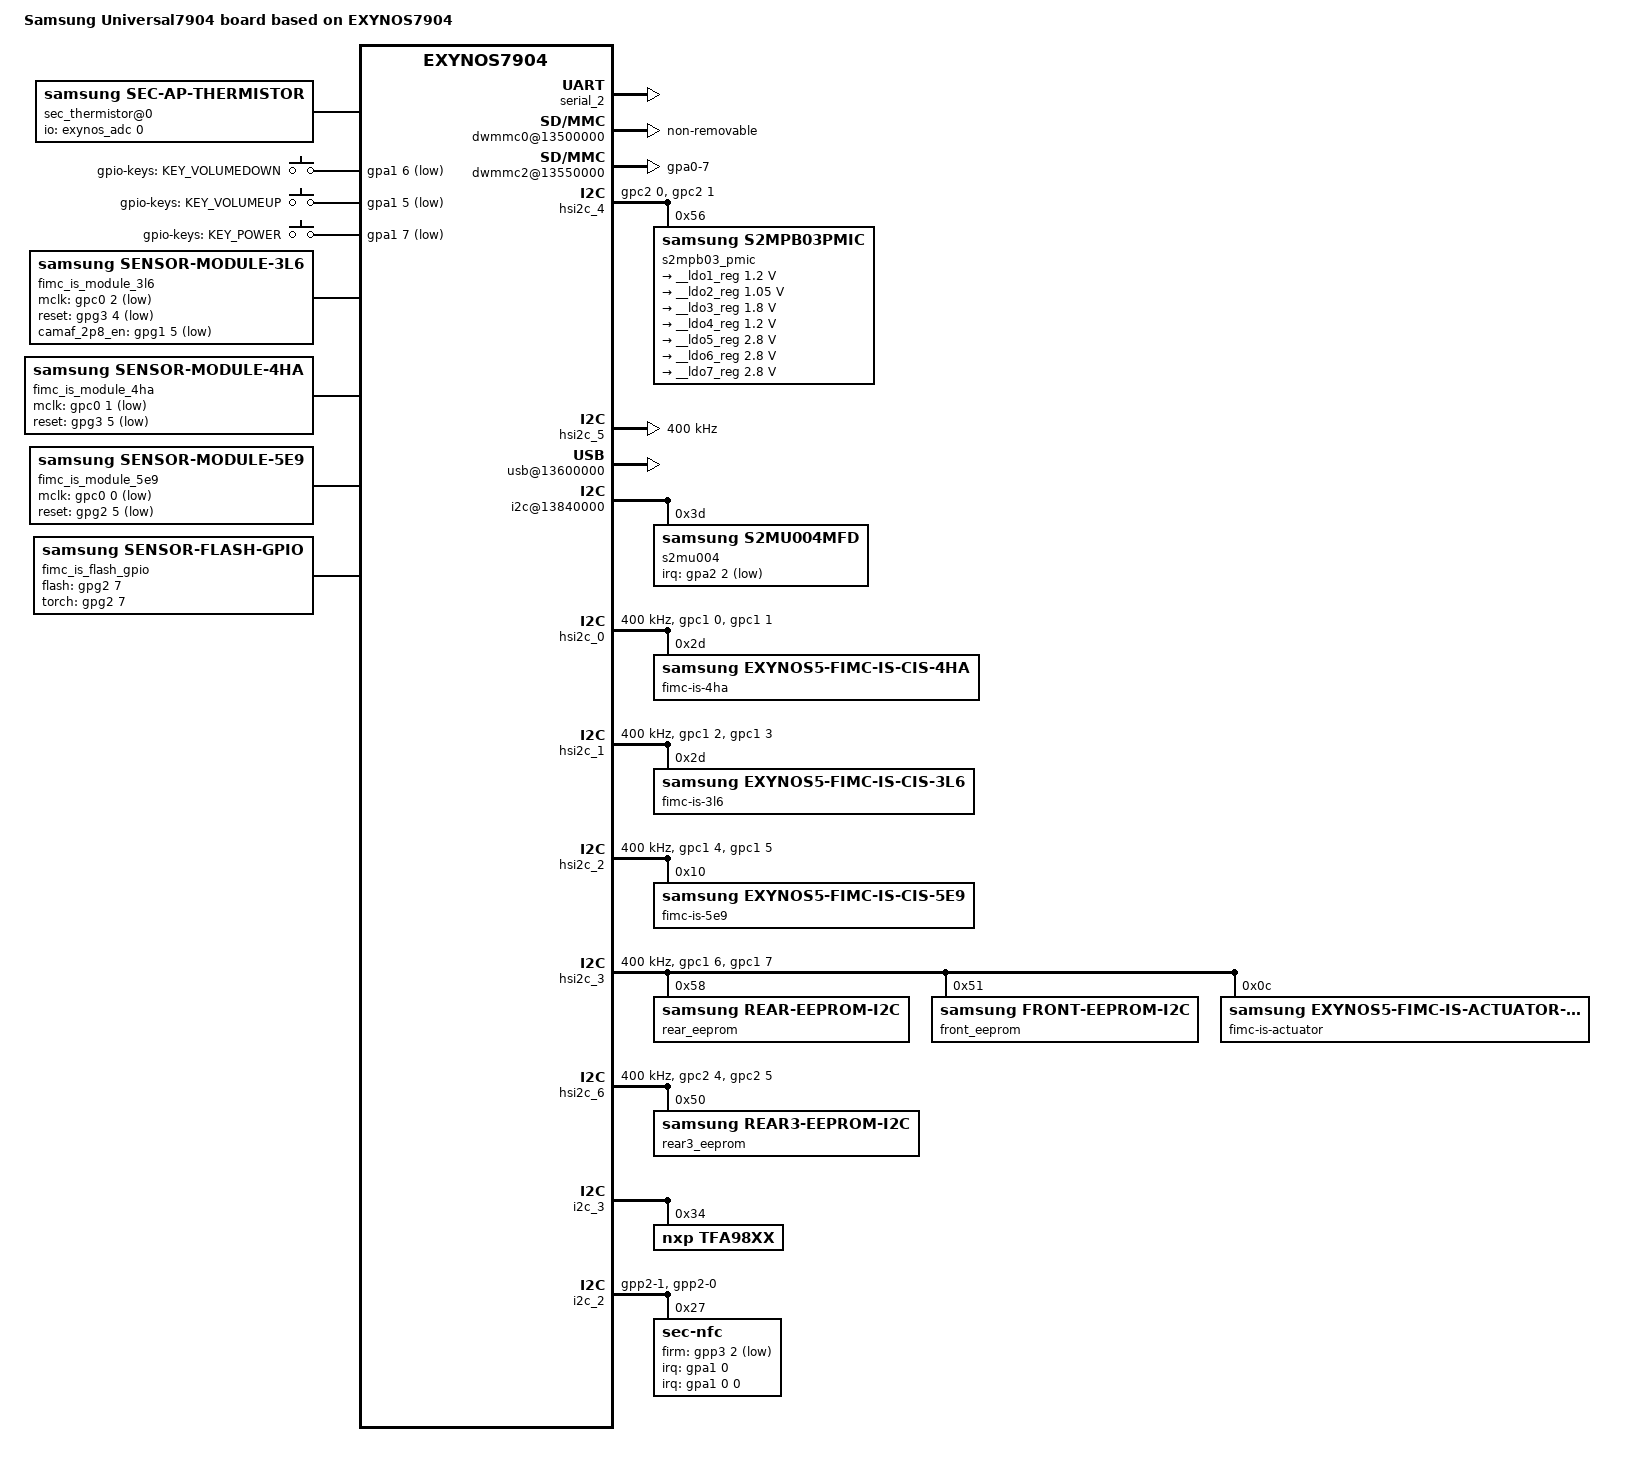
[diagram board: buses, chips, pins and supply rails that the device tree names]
/*
 * SAMSUNG UNIVERSAL7885 board device tree source
 *
 * Copyright (c) 2013 Samsung Electronics Co., Ltd.
 *		http://www.samsung.com
 *
 * This program is free software; you can redistribute it and/or modify
 * it under the terms of the GNU General Public License version 2 as
 * published by the Free Software Foundation.
 */

#include "exynos7884-rmem.dtsi"
#include "exynos7885.dtsi"
#include "display-lcd_m20_common.dtsi"
#include "modem-s327ap-sipc-pdata_m20.dtsi"
#include "battery_data_m20lte_common.dtsi"
#include "exynos7904-m20lte_motor.dtsi"
#include "exynos7904-mali.dtsi"

/ {
	model = "Samsung Universal7904 board based on EXYNOS7904";
	compatible = "samsung,exynos7904", "samsung,Universal7904";

	ect {
		parameter_address = <0x90000000>;
		parameter_size = <0x19000>;
	};

	memory@80000000 {
		device_type = "memory";
		reg = <0x0 0x80000000 0x3DA00000>;
	};

	memory@C0000000 {
		device_type = "memory";
		reg = <0x0 0xC0000000 0x40000000>;
	};

	memory@880000000 {
		device_type = "memory";
		reg = <0x00000008 0x80000000 0x0>;
	};

	memory@900000000 {
		device_type = "memory";
		reg = <0x00000009 0x00000000 0x0>;
	};

	chosen {
		bootargs = "console=ram root=/dev/ram0 clk_ignore_unused androidboot.hardware=samsungexynos7885 androidboot.selinux=permissive ess_setup=0x86000000 androidboot.debug_level=0x4948";
		linux,initrd-start = <0x84000000>;
		linux,initrd-end = <0x840FFFFF>;
	};

	fixed-rate-clocks {
		oscclk {
			compatible = "samsung,exynos7885-oscclk";
			clock-frequency = <26000000>;
		};
	};

	firmware {
		android {
			compatible = "android,firmware";
			fstab {
				compatible = "android,fstab";
				system {
					compatible = "android,system";
					dev = "/dev/block/platform/13500000.dwmmc0/by-name/SYSTEM";
					type = "ext4";
					mnt_flags = "ro";
					fsmgr_flags = "wait,verify";
				};
				vendor {
					compatible = "android,vendor";
					dev = "/dev/block/platform/13500000.dwmmc0/by-name/VENDOR";
					type = "ext4";
					mnt_flags = "ro";
					fsmgr_flags = "wait,verify";
				};
				odm {
					compatible = "android,odm";
					dev = "/dev/block/platform/13500000.dwmmc0/by-name/ODM";
					type = "ext4";
					mnt_flags = "ro";
					fsmgr_flags = "wait,verify";
				};
			};
		};
	};

	/* USI MODE SETTINGS
	 * usi_mode = "hsi2c0" or "hsi2c1" or "spi" or "uart"
	 * or "hsi2c0_hsi2c1" or "uart_hsi2c1"
	 */
	usi_0: usi@10032000 {
		usi_mode = "hsi2c0_hsi2c1";  /*  change from "spi" to "hsi2c"  */
		status = "okay";
	};

	usi_1: usi@10032004 {
		usi_mode = "hsi2c0";
		status = "okay";
	};

	usi_2: usi@10032008 {
		usi_mode = "hsi2c1";
		status = "okay";
	};

	serial_1: uart@13810000 {
		status = "disabled";
	};

	pinctrl@11CB0000 {
		pmic_irq: pmic-irq {
			samsung,pins = "gpa2-0";
			samsung,pin-pud = <3>;
			samsung,pin-drv = <3>;
		};
	};

	pinctrl@139B0000 {
		/* Warm reset information from AP */
		pm_wrsti: pm-wrsti {
			samsung,pins = "gpg1-1";
			samsung,pin-con-pdn = <3>;
		};
		mot_en: mot_enable {
			samsung,pins = "gpp0-3";
			samsung,pin-pud = <1>;
			samsung,pin-drv = <0>;
		};
	};

	pinctrl@139B0000 {
		/* SPI_FP */
		spi1_bus_inactive: spi1-bus-inactive {
			samsung,pins = "gpp6-0", "gpp6-1", "gpp6-2", "gpp6-3";
			samsung,pin-function = <0>;
			samsung,pin-pud = <1>;
			samsung,pin-drv = <2>;
		};
		spi1_clk: spi1-clk {
			samsung,pins = "gpp6-0";
			samsung,pin-function = <2>;
			samsung,pin-pud = <1>;
			samsung,pin-drv = <2>;
		};
		spi1_cs: spi1-cs {
			samsung,pins = "gpp6-1";
			samsung,pin-function = <2>;
			samsung,pin-pud = <3>;
			samsung,pin-drv = <2>;
		};
		spi1_miso: spi1-miso {
			samsung,pins = "gpp6-2";
			samsung,pin-function = <2>;
			samsung,pin-pud = <0>;
			samsung,pin-drv = <2>;
		};
		spi1_mosi: spi1-mosi {
			samsung,pins = "gpp6-3";
			samsung,pin-function = <2>;
			samsung,pin-pud = <1>;
			samsung,pin-drv = <2>;
		};
	};

	but_zones: but_zones {
		#list-but-cells = <3>;
	};

	speedy@11CE0000 {
		status = "okay";
		audio_codec_cod3035x: cod3035x@03 {
		compatible = "codec,cod3035x";
		reg = <0x03>;
		i2c-speedy-address;
		vdd-supply = <&l36_reg>;
		pinctrl-names = "default";
		mic-bias1-voltage = <1>;
		mic-bias2-voltage = <1>;
		mic-bias-ldo-voltage = <3>;
		use-lassenA;
		use-btn-adc-mode;
		use-feature-flag = <0x02>;
		use-det-gdet-adc-mode = <1>;
		jack-imp-tuning = <7>;
		io-channels = <&exynos_adc 3>,<&exynos_adc 7>;
		io-channel-names = "adc-ear","adc-gdet";
		#io-channel-cells = <1>;
		io-channel-ranges;
		but-zones-list = <&but_zones 226 0 376>,
				 <&but_zones 582 377 447>,
				 <&but_zones 115 448 627>,
				 <&but_zones 114 628 1161>;
		mic-adc-range = <1404>;
		btn-release-value = <1404>;
		};

		s2mpu08mfd@00 {
			compatible = "samsung,s2mpu08mfd";
			acpm-ipc-channel = <2>;
			i2c-speedy-address;
			s2mpu08,wakeup = "enabled";
			s2mpu08,irq-gpio = <&gpa2 0 0>;
			reg = <0x00>;
			interrupts = <2 0 0>;
			interrupt-parent = <&gpa2>;
			pinctrl-names = "default";
			pinctrl-0 = <&pmic_irq &pm_wrsti>;
			/* RTC: wtsr/smpl */
			wtsr_en = "enabled"; /* enable */
			smpl_en = "enabled"; /* enable */
			wtsr_timer_val = <3>;	/* 1000ms */
			smpl_timer_val = <0>;	/* 100ms */
			check_jigon = <0>; /* do not check jigon */
			/* RTC: If it's first boot, reset rtc to 1/1/2019 12:00:00(Tue) */
			init_time,sec = <0>;
			init_time,min = <0>;
			init_time,hour = <12>;
			init_time,mday = <1>;
			init_time,mon = <0>;
			init_time,year = <119>;
			init_time,wday = <2>;

			samsung,codec-interrupt = <&audio_codec_cod3035x>;

			regulators {
				b1_reg: BUCK1 {
					regulator-name = "vdd_mif";
					regulator-min-microvolt = <500000>;
					regulator-max-microvolt = <1100000>;
					regulator-always-on;
					regulator-ramp-delay = <12000>;
					regulator-initial-mode = <2>;
				};

				b2_reg: BUCK2 {
					regulator-name = "vdd_cpucl0";
					regulator-min-microvolt = <500000>;
					regulator-max-microvolt = <1300000>;
					regulator-always-on;
					regulator-ramp-delay = <12000>;
					regulator-initial-mode = <1>;
				};

				b3_reg: BUCK3 {
					regulator-name = "vdd_cpucl1_2";
					regulator-min-microvolt = <500000>;
					regulator-max-microvolt = <1300000>;
					regulator-always-on;
					regulator-ramp-delay = <12000>;
					regulator-initial-mode = <1>;
				};

				b4_reg: BUCK4 {
					regulator-name = "vdd_int";
					regulator-min-microvolt = <500000>;
					regulator-max-microvolt = <1200000>;
					regulator-always-on;
					regulator-ramp-delay = <12000>;
					regulator-initial-mode = <2>;
				};

				b5_reg: BUCK5 {
					regulator-name = "vdd_g3d";
					regulator-min-microvolt = <500000>;
					regulator-max-microvolt = <1300000>;
					regulator-always-on;
					regulator-ramp-delay = <12000>;
					regulator-initial-mode = <1>;
				};

				b6_reg: BUCK6 {
					regulator-name = "vdd2_mem";
					regulator-min-microvolt = <500000>;
					regulator-max-microvolt = <1300000>;
					regulator-always-on;
					regulator-ramp-delay = <12000>;
					regulator-initial-mode = <3>;
				};

				b7_reg: BUCK7 {
					regulator-name = "vdd_lldo";
					regulator-min-microvolt = <1200000>;
					regulator-max-microvolt = <1500000>;
					regulator-always-on;
					regulator-boot-on;
					regulator-ramp-delay = <12000>;
					regulator-initial-mode = <3>;
				};

				b8_reg: BUCK8 {
					regulator-name = "vdd_mldo";
					regulator-min-microvolt = <1800000>;
					regulator-max-microvolt = <2100000>;
					regulator-always-on;
					regulator-ramp-delay = <12000>;
					regulator-initial-mode = <3>;
				};

				l1_reg: LDO1 {
					regulator-name = "vdd_ldo1";
					regulator-min-microvolt = <700000>;
					regulator-max-microvolt = <1300000>;
					regulator-always-on;
					regulator-ramp-delay = <12000>;
					regulator-initial-mode = <3>;
				};

				l2_reg: LDO2 {
					regulator-name = "vqmmc";
					regulator-min-microvolt = <1800000>;
					regulator-max-microvolt = <3375000>;
					regulator-ramp-delay = <12000>;
				};

				l3_reg: LDO3 {
					regulator-name = "vdd_ldo3";
					regulator-min-microvolt = <800000>;
					regulator-max-microvolt = <1950000>;
					regulator-always-on;
					regulator-ramp-delay = <12000>;
					regulator-initial-mode = <3>;
				};

				l4_reg: LDO4 {
					regulator-name = "vdd_ldo4";
					regulator-min-microvolt = <500000>;
					regulator-max-microvolt = <1300000>;
					regulator-always-on;
					regulator-ramp-delay = <12000>;
					regulator-initial-mode = <1>;
				};

				l5_reg: LDO5 {
					regulator-name = "vdd_ldo5";
					regulator-min-microvolt = <800000>;
					regulator-max-microvolt = <1350000>;
					regulator-always-on;
					regulator-ramp-delay = <12000>;
					regulator-initial-mode = <1>;
				};

				l6_reg: LDO6 {
					regulator-name = "vdd_ldo6";
					regulator-min-microvolt = <800000>;
					regulator-max-microvolt = <1350000>;
					regulator-always-on;
					regulator-ramp-delay = <12000>;
					regulator-initial-mode = <1>;
				};

				l7_reg: LDO7 {
					regulator-name = "vdd_ldo7";
					regulator-min-microvolt = <800000>;
					regulator-max-microvolt = <1950000>;
					regulator-always-on;
					regulator-ramp-delay = <12000>;
					regulator-initial-mode = <1>;
				};

				l8_reg: LDO8 {
					regulator-name = "vdd_ldo8";
					regulator-min-microvolt = <500000>;
					regulator-max-microvolt = <1300000>;
					regulator-always-on;
					regulator-ramp-delay = <12000>;
					regulator-initial-mode = <1>;
				};

				l9_reg: LDO9 {
					regulator-name = "vdd_ldo9";
					regulator-min-microvolt = <500000>;
					regulator-max-microvolt = <1300000>;
					regulator-always-on;
					regulator-ramp-delay = <12000>;
					regulator-initial-mode = <1>;
				};

				l10_reg: LDO10 {
					regulator-name = "vdd_ldo10";
					regulator-min-microvolt = <500000>;
					regulator-max-microvolt = <1300000>;
					regulator-always-on;
					regulator-ramp-delay = <12000>;
					regulator-initial-mode = <1>;
				};

				l11_reg: LDO11 {
					regulator-name = "vdd_ldo11";
					regulator-min-microvolt = <500000>;
					regulator-max-microvolt = <1300000>;
					regulator-always-on;
					regulator-ramp-delay = <12000>;
					regulator-initial-mode = <1>;
				};

				l12_reg: LDO12 {
					regulator-name = "vdd_ldo12";
					regulator-min-microvolt = <800000>;
					regulator-max-microvolt = <1350000>;
					regulator-always-on;
					regulator-ramp-delay = <12000>;
					regulator-initial-mode = <1>;
				};

				l13_reg: LDO13 {
					regulator-name = "vdd_ldo13";
					regulator-min-microvolt = <800000>;
					regulator-max-microvolt = <1950000>;
					regulator-always-on;
					regulator-ramp-delay = <12000>;
					regulator-initial-mode = <1>;
				};

				l14_reg: LDO14 {
					regulator-name = "vdd_ldo14";
					regulator-min-microvolt = <1800000>;
					regulator-max-microvolt = <3375000>;
					regulator-always-on;
					regulator-ramp-delay = <12000>;
					regulator-initial-mode = <1>;
				};

				l33_reg: LDO33 {
					regulator-name = "vdd_ldo33";
					regulator-min-microvolt = <800000>;
					regulator-max-microvolt = <1950000>;
					regulator-always-on;
					regulator-ramp-delay = <12000>;
					regulator-initial-mode = <3>;
				};

				l34_reg: LDO34 {
					regulator-name = "vdd_ldo34";
					regulator-min-microvolt = <1800000>;
					regulator-max-microvolt = <3375000>;
					regulator-always-on;
					regulator-ramp-delay = <12000>;
					regulator-initial-mode = <3>;
				};

				l35_reg: LDO35 {
					regulator-name = "vmmc";
					regulator-min-microvolt = <1800000>;
					regulator-max-microvolt = <3000000>;
					regulator-ramp-delay = <12000>;
				};

				l36_reg: LDO36 {
					regulator-name = "vdd_ldo36";
					regulator-min-microvolt = <800000>;
					regulator-max-microvolt = <1950000>;
					regulator-always-on;
					regulator-ramp-delay = <12000>;
					regulator-initial-mode = <3>;
				};

				l37_reg: LDO37 {
					regulator-name = "vdd_ldo37";
					regulator-min-microvolt = <1800000>;
					regulator-max-microvolt = <3375000>;
					regulator-always-on;
					regulator-ramp-delay = <12000>;
					regulator-initial-mode = <3>;
				};
			};
		};
	};

	sec_thermistor@0 {
		compatible = "samsung,sec-ap-thermistor";
		status = "okay";

		adc_array = <265 314 376 437 511 602 728 789 845 896
				990 1087 1157 1225 1345 1368 1425 1484 1516 1739 1953 2176 2412
				2491 2609 2684 2723 2822 2912 3005 3107 3163 3307 3397 3484>;
		temp_array = <900 850 800 750 700 650 600 570 550 530
				500 470 450 430 410 400 380 360 350 300 250 200 150
				130 100 80 70 50 30 0 (-30) (-50) (-100) (-150) (-200)>;
		io-channels = <&exynos_adc 0>;
		io-channel-names = "adc-ap-temp";
		io-channel-ranges;
	};

	exynos_rgt {
		compatible = "samsung,exynos-rgt";
	};

	serial_2: uart@13820000 {
		samsung,uart-logging;
		status = "okay";
	};

	pinctrl@11CB0000 {
		dwmmc2_cd_ext_irq: dwmmc2_cd_ext_irq {
			samsung,pins = "gpa0-7";
			samsung,pin-function = <0xf>;
			samsung,pin-pud = <0>;
			samsung,pin-drv = <3>;
		};
	};

	dwmmc0@13500000 {
		status = "okay";
		num-slots = <1>;
		broken-cd;
		fixed_voltage;
		supports-highspeed;
		mmc-ddr-1_8v;
		mmc-hs200-1_8v;
		mmc-hs400-1_8v;
		supports-8bit;
		supports-cmd23;
		supports-erase;
		supports-hs400-enhanced-strobe;
		card-init-hwacg-ctrl;
		support-cmdq;
		qos-dvfs-level = <100000>;
		fifo-depth = <0x40>;
		non-removable;
		desc-size = <4>;
		card-detect-delay = <200>;
		samsung,dw-mshc-ciu-div = <3>;
		samsung,dw-mshc-txdt-crc-timer-fastlimit = <0x13>;
		samsung,dw-mshc-txdt-crc-timer-initval = <0x15>;
		samsung,dw-mshc-hs400-delay-line = <0x90>;
		samsung,dw-mshc-sdr-timing = <3 0 4 0>;
		samsung,dw-mshc-ddr-timing = <3 0 4 2>;
		samsung,dw-mshc-hs200-timing = <3 0 3 0>;
		samsung,dw-mshc-hs400-timing = <1 0 2 0>;
		samsung,dw-mshc-hs400-ulp-timing = <3 0 2 0>;

		num-ref-clks = <12>;
		ciu_clkin = <25 50 50 25 50 100 200 50 50 200 200 200>;

		/* Swapping clock drive strength */
		clk-drive-number = <4>;
		pinctrl-names = "default",
			"fast-slew-rate-1x",
			"fast-slew-rate-2x",
			"fast-slew-rate-3x",
			"fast-slew-rate-4x";
		pinctrl-0 = <&sd0_clk &sd0_cmd &sd0_rdqs &sd0_bus1 &sd0_bus4 &sd0_bus8>;
		pinctrl-1 = <&sd0_clk_fast_slew_rate_1x>;
		pinctrl-2 = <&sd0_clk_fast_slew_rate_2x>;
		pinctrl-3 = <&sd0_clk_fast_slew_rate_3x>;
		pinctrl-4 = <&sd0_clk_fast_slew_rate_4x>;
		slot@0 {
			reg = <0>;
			bus-width = <8>;
		};

	};

	dwmmc1@13510000 {
		status = "disabled";
		num-slots = <1>;
		channel = <1>;
		fixed_voltage;
		enable-cclk-on-suspend;
		caps-control;
		supports-highspeed;
		supports-4bit;
		keep-power-in-suspend;
		pm-ignore-notify;
		card-detect-type-external;
		use-broken-voltage;
		fifo-depth = <0x40>;
		card-detect-delay = <200>;
		qos-dvfs-level = <100000>;
		data-timeout = <200>;
		hto-timeout = <80>;
		samsung,dw-mshc-ciu-div = <3>;
		samsung,dw-mshc-sdr-timing = <3 0 2 0>;
		samsung,dw-mshc-ddr-timing = <3 0 2 1>;
		samsung,dw-mshc-sdr50-timing = <3 0 4 2>;
		samsung,dw-mshc-sdr104-timing = <3 0 3 0>;

		num-ref-clks = <9>;
		ciu_clkin = <25 50 50 25 50 100 200 50 50>;

		clk-drive-number = <4>;
		pinctrl-names = "default",
			"fast-slew-rate-1x",
			"fast-slew-rate-2x",
			"fast-slew-rate-3x",
			"fast-slew-rate-4x";
		pinctrl-0 = <&sd1_clk &sd1_cmd &sd1_bus1 &sd1_bus4>;
		pinctrl-1 = <&sd1_clk_fast_slew_rate_1x>;
		pinctrl-2 = <&sd1_clk_fast_slew_rate_2x>;
		pinctrl-3 = <&sd1_clk_fast_slew_rate_3x>;
		pinctrl-4 = <&sd1_clk_fast_slew_rate_4x>;
		slot@0 {
			reg = <0>;
			bus-width = <4>;
		};
	};

	pinctrl@139B0000 {
		i2c4_bus: i2c4-bus {
			samsung,pins = "gpp4-1", "gpp4-0";
			samsung,pin-function = <2>;
			samsung,pin-pud = <0>;
			samsung,pin-drv = <0>;
		};

		i2c_on: i2c-on {
			samsung,pins = "gpp4-1", "gpp4-0";
			samsung,pin-function = <2>;
			samsung,pin-pud = <0>;
			samsung,pin-drv = <0>;
		};
		i2c_off: i2c-off {
			samsung,pins = "gpp4-1", "gpp4-0";
			samsung,pin-function = <2>;
			samsung,pin-pud = <1>;
			samsung,pin-drv = <0>;
		};
	};

	dwmmc2@13550000 {
		status = "okay";
		num-slots = <1>;
		supports-4bit;
		card-detect-invert;
		supports-cmd23;
		supports-erase;
		supports-highspeed;
		sd-uhs-sdr50;
		sd-uhs-sdr104;
		card-detect-gpio;
		card-no-pre-powerup;
		bypass-for-allpass;
		card-init-hwacg-ctrl;
		skip-init-mmc-scan;
		qos-dvfs-level = <100000>;
		qos-sd3-dvfs-level = <267000>;
		fifo-depth = <0x40>;
		desc-size = <4>;
		card-detect-delay = <200>;
		data-timeout = <200>;
		hto-timeout = <80>;
		samsung,dw-mshc-ciu-div = <3>;
		clock-frequency = <800000000>;
		samsung,dw-mshc-sdr-timing = <3 0 2 0>;
		samsung,dw-mshc-ddr-timing = <3 0 2 1>;
		samsung,dw-mshc-sdr50-timing = <3 0 4 2>;
		samsung,dw-mshc-sdr104-timing = <3 0 3 0>;

		num-ref-clks = <9>;
		ciu_clkin = <25 50 50 25 50 100 200 50 50>;

		/* Swapping clock drive strength */
		clk-drive-number = <4>;
		pinctrl-names = "default",
			"fast-slew-rate-1x",
			"fast-slew-rate-2x",
			"fast-slew-rate-3x",
			"fast-slew-rate-4x";
		pinctrl-0 = <&sd2_clk &sd2_cmd &sd2_bus1 &sd2_bus4 &dwmmc2_cd_ext_irq>;
		pinctrl-1 = <&sd2_clk_fast_slew_rate_1x>;
		pinctrl-2 = <&sd2_clk_fast_slew_rate_2x>;
		pinctrl-3 = <&sd2_clk_fast_slew_rate_3x>;
		pinctrl-4 = <&sd2_clk_fast_slew_rate_4x>;

		card-detect = <&gpa0 7 0xf>;
		sec-sd-slot-type = <2>; /* Hybrid Tray SD slot */

		slot@0 {
			reg = <0>;
			bus-width = <4>;
			disable-wp;
		};

	};

	pinctrl@11CB0000 {
		attn_irq: attn-irq {
			samsung,pins = "gpa0-0";
			samsung,pin-function = <0xf>;
			samsung,pin-pud = <0>;
			samsung,pin-drv = <0>;
		};

		key_power: key-power {
			samsung,pins = "gpa1-7";
			samsung,pin-function = <0xf>;
			samsung,pin-pud = <0>;
			samsung,pin-drv = <0>;
		};

		key_voldown: key-voldown {
			samsung,pins = "gpa1-6";
			samsung,pin-function = <0xf>;
			samsung,pin-pud = <0>;
			samsung,pin-drv = <0>;
		};

		key_volup: key-volup {
			samsung,pins = "gpa1-5";
			samsung,pin-function = <0xf>;
			samsung,pin-pud = <0>;
			samsung,pin-drv = <0>;
		};
	};

	gpio_keys {
		status = "okay";
		compatible = "gpio-keys";
		#address-cells = <1>;
		#size-cells = <0>;
		pinctrl-names = "default";
		pinctrl-0 = <&key_voldown &key_volup &key_power>;

		button@1 {
			label = "gpio-keys: KEY_VOLUMEDOWN";
			interrupts = <6 0 0>;
			interrupt-parent = <&gpa1>;
			linux,code = <114>;
			gpios = <&gpa1 6 0xf>;
		};
		button@2 {
			label = "gpio-keys: KEY_VOLUMEUP";
			interrupts = <5 0 0>;
			interrupt-parent = <&gpa1>;
			linux,code = <115>;
			gpios = <&gpa1 5 0xf>;
		};
		button@3 {
			label = "gpio-keys: KEY_POWER";
			interrupts = <7 0 0>;
			interrupt-parent = <&gpa1>;
			linux,code = <116>;
			gpios = <&gpa1 7 0xf>;
			gpio-key,wakeup = <1>;
		};

	};

	hsi2c_4: hsi2c@13920000 {
		gpios = <&gpc2 0 0 &gpc2 1 0>;
		status = "okay";
		s2mpb03_pmic@56 {
			compatible = "samsung,s2mpb03pmic";
			reg = <0x56>;
			disable_ldo2_remote_sense;
			slew2,dram_dsch2 = /bits/ 8 <1>;
			slew2,l5_slew = /bits/ 8 <0>;
			slew2,l6_slew = /bits/ 8 <0>;

			regulators {
				__ldo1_reg: s2mpb03-ldo1 {
					regulator-name = "VDDDF_1.2V_CAM";
					regulator-min-microvolt = <1200000>;
					regulator-max-microvolt = <1200000>;
				};

				__ldo2_reg: s2mpb03-ldo2 {
					regulator-name = "VDDDR1_1.05V_CAM";
					regulator-min-microvolt = <1050000>;
					regulator-max-microvolt = <1050000>;
				};

				__ldo3_reg: s2mpb03-ldo3 {
					regulator-name = "VDDIOR1_1.8V_CAM";
					regulator-min-microvolt = <1800000>;
					regulator-max-microvolt = <1800000>;
				};

				__ldo4_reg: s2mpb03-ldo4 {
					regulator-name = "VDDDR2_1.2V_CAM";
					regulator-min-microvolt = <1200000>;
					regulator-max-microvolt = <1200000>;
				};

				__ldo5_reg: s2mpb03-ldo5 {
					regulator-name = "VDDAF_2.8V_CAM";
					regulator-min-microvolt = <2800000>;
					regulator-max-microvolt = <2800000>;
				};

				__ldo6_reg: s2mpb03-ldo6 {
					regulator-name = "VDDAR1_2.8V_CAM";
					regulator-min-microvolt = <2800000>;
					regulator-max-microvolt = <2800000>;
				};

				__ldo7_reg: s2mpb03-ldo7 {
					regulator-name = "VDDAR2_2.8V_CAM";
					regulator-min-microvolt = <2800000>;
					regulator-max-microvolt = <2800000>;
				};
			};
		};
	};

	hsi2c_5: hsi2c@13930000 {
		status = "okay";
		clock-frequency = <400000>;  /*   400 kHz  */
		/* Novatek device tree node */
		touchscreen: novatek@62 {
			compatible = "novatek,NVT-ts";
			reg = <0x62>;
			status = "disabled";
			pinctrl-names = "default";
			pinctrl-0 = <&attn_irq>;
			novatek,irq-gpio = <&gpa0 0 0>;
			novatek,factory_item_version = <1>;

			/* MP */
			//novatek,mp-support-dt;
		};

		/* Himax device tree node */
		himax_ts: touchscreen@48 {
			compatible = "himax,hxcommon";
			reg = <0x48>;
			status = "disabled";
			pinctrl-names = "default";
			pinctrl-0 = <&attn_irq>;
			himax,irq-gpio			= <&gpa0 0 0>;
			himax,rst-gpio 			= <&gpg2 1 0>;
			himax,panel-coords		= <0 1080 0 2340>;
			himax,display-coords	= <0 1080 0 2340>;
			himax,project_name = "M20", "M205F";
			himax,area-size = <80 126 60>; /* indicator: using notch: 80px navigator:48dp~126px edge:60px | dpi:420*/
			himax,fw-path = "tsp_himax/hx83112a_m20lte.fw";
			report_type				= <1>;
			himax,factory_item_version = <1>;
		};
	};

	usb@13600000 {
		status = "okay";
		dwc3 {
			dr_mode = "otg";
			maximum-speed = "high-speed";
			snps,quirk-frame-length-adjustment = <0x20>;
		};
	};

	phy@135D0000 {
		status = "okay";
		hs_tune_param = <&usb_hs_tune>;
	};

	usb_hs_tune:hs_tune {
		hs_tune_cnt = <12>;

		/* value = <device host> */
		hs_tune1 {
			tune_name = "tx_vref";
			tune_value = <0xd 0xa>;
		};

		hs_tune2 {
			tune_name = "tx_pre_emp";
			tune_value = <0x3 0x3>;
		};

		hs_tune3 {
			tune_name = "tx_pre_emp_plus";
			tune_value = <0x0 0x0>;
		};

		hs_tune4 {
			tune_name = "tx_res";
			tune_value = <0x3 0x3>;
		};

		hs_tune5 {
			tune_name = "tx_rise";
			tune_value = <0x3 0x3>;
		};

		hs_tune6 {
			tune_name = "tx_hsxv";
			tune_value = <0x3 0x3>;
		};

		hs_tune7 {
			tune_name = "tx_fsls";
			tune_value = <0x3 0x3>;
		};

		hs_tune8 {
			tune_name = "rx_sqrx";
			tune_value = <0x7 0x7>;
		};

		hs_tune9 {
			tune_name = "compdis";
			tune_value = <0x7 0x7>;
		};

		hs_tune10 {
			tune_name = "otg";
			tune_value = <0x2 0x2>;
		};

		hs_tune11 {
		/* true : 1, false: 0 */
		/* <enable_user_imp user_imp_value> */
			tune_name = "enable_user_imp";
			tune_value = <0x0 0x0>;
		};

		hs_tune12 {
		/* PHY clk : 1 , FREE clk : 0 */
			tune_name = "is_phyclock";
			tune_value = <0x1 0x1>;
		};
	};

	mailbox_cp: mcu_ipc@12080000 {
		compatible = "samsung,exynos-shd-ipc-mailbox";
		reg = <0x0 0x12080000 0x180>;
		mcu,name = "mcu_ipc_cp";
		mcu,id = <0>;
		interrupts = <0 55 0 >; /* MAILBOX_CP_TO_AP SPI Number */
	};

	mailbox_gnss: mcu_ipc@120D0000 {
		compatible = "samsung,exynos-shd-ipc-mailbox";
		reg = <0x0 0x120D0000 180>;
		mcu,name = "mcu_ipc_gnss";
		mcu,id = <1>;
		interrupts = <GIC_SPI 56 IRQ_TYPE_NONE>;
	};

	gnss_pdata {
		status = "okay";

		compatible = "samsung,gnss_shdmem_if";
		shmem,name = "KEPLER";
		shmem,device_node_name = "gnss_ipc";

		/* ACTIVE WATCHDOG WAKEUP */
		interrupts = <GIC_SPI 20 IRQ_TYPE_NONE>,
			     <GIC_SPI 165 IRQ_TYPE_NONE>,
			     <GIC_SPI 164 IRQ_TYPE_NONE>;
		interrupt-names = "ACTIVE", "WATCHDOG", "WAKEUP";

		memory-region = <&gnss_reserved>;
		mbox_info = <&mailbox_gnss>;

		mbx,int_ap2gnss_bcmd = <0>;
		mbx,int_ap2gnss_req_fault_info = <1>;
		mbx,int_ap2gnss_ipc_msg = <2>;
		mbx,int_ap2gnss_ack_wake_set = <3>;
		mbx,int_ap2gnss_ack_wake_clr = <4>;

		mbx,irq_gnss2ap_bcmd = <0>;
		mbx,irq_gnss2ap_rsp_fault_info = <1>;
		mbx,irq_gnss2ap_ipc_msg = <2>;
		mbx,irq_gnss2ap_req_wake_clr = <4>;

		mbx,reg_bcmd_ctrl = <0>, <1>, <2>, <3>;

		reg_rx_ipc_msg = <1 5>;
		reg_tx_ipc_msg = <1 4>;
		reg_rx_head = <1 3>;
		reg_rx_tail = <1 2>;
		reg_tx_head = <1 1>;
		reg_tx_tail = <1 0>;
		fault_info = <1 0x200000 0x180000>;

		shmem,ipc_offset = <0x380000>;
		shmem,ipc_size = <0x80000>;
		shmem,ipc_reg_cnt = <32>;

		/* Use the following value when can't boot with mailbox */
		shmem,boot_without_mbox = <1>; /* Default : 0 */
	};

	usb_notifier {
		compatible = "samsung,usb-notifier";
		udc = <&udc>;
	};

	i2c@13840000{
		status = "okay";
		s2mu004@3D {
			status = "okay";
			compatible = "samsung,s2mu004mfd";
			reg = <0x3D>;
			pinctrl-names = "default";
			pinctrl-0 = <&if_pmic_irq>;
			s2mu004,irq-gpio = <&gpa2 2 1>;
			s2mu004,wakeup;
		};
	};

	fimc_is@14440000 {
		pinctrl-names = "default","release";
		pinctrl-0 = <&fimc_is_mclk0_out &fimc_is_mclk1_out &fimc_is_mclk2_out>;
		pinctrl-1 = <>;

		sensor_common_cfg {
			use_csi_dma_split;
		};

		vender {
			rear_sensor_id = <59>; /* SENSOR_NAME_S5K3L6 */
			front_sensor_id = <39>;		/* SENSOR_NAME_S5K4HA */
			rear3_sensor_id = <41>;	/* SENSOR_NAME_S5K5E9 */

			need_i2c_config;
			//use_module_check;
			check_sensor_vendor;
			//skip_cal_loading;
			max_supported_camera = <3>;
			supported_cameraId = <0 1 52>;

			max_camera_num = <4>;
			camera_info0 {				/* 0 : rear - SENSOR_NAME_IMX576 */
				isp = <0>;				/* 0 : INT , 1 : EXT , 2 : SOC */
				cal_memory = <2>;			/* 0 : N , 1 : FROM , 2 : EEPROM , 3 : OTP  */
				read_version = <0>;		/* 0 : SYSFS , 1 : CAMON */
				core_voltage = <0>;		/* 0 : N , 1 : Y  */
				upgrade = <0>;			/* 0 : N , 1 : SYSFS , 2 : CAMON */
				companion = <0>;			/* 0 : N , 1 : Y  */
				ois = <0>;				/* 0 : N , 1 : Y  */
				valid = <1>;				/* 0 : INVALID, 1 : VALID */
				dual_open = <0>;			/* 0 : SINGLE_OPEN , 1 : DUAL_OPEN */
				position = <0>;			/* 0 : Rear, 1:Front, 2:Rear2, 5:Front2, 6:Rear3 */
			};
			camera_info1 {				/* 1 : front1 - SENSOR_NAME_IMX576 */
				isp = <0>;				/* 0 : INT , 1 : EXT , 2 : SOC */
				cal_memory = <2>;			/* 0 : N , 1 : FROM , 2 : EEPROM , 3 : OTP  */
				read_version = <0>;		/* 0 : SYSFS , 1 : CAMON */
				core_voltage = <0>;		/* 0 : N , 1 : Y  */
				upgrade = <0>;			/* 0 : N , 1 : SYSFS , 2 : CAMON */
				companion = <0>;			/* 0 : N , 1 : Y  */
				ois = <0>;				/* 0 : N , 1 : Y  */
				valid = <1>;				/* 0 : INVALID, 1 : VALID */
				dual_open = <0>;			/* 0 : SINGLE_OPEN , 1 : DUAL_OPEN */
				position = <1>;			/* 0 : Rear, 1:Front, 2:Rear2, 5:Front2, 6:Rear3 */
			};
			camera_info3 {				/* 1 : rear3 - SENSOR_NAME_S5K5E9 */
				isp = <0>;				/* 0 : INT , 1 : EXT , 2 : SOC */
				cal_memory = <2>;			/* 0 : N , 1 : FROM , 2 : EEPROM , 3 : OTP  */
				read_version = <0>;		/* 0 : SYSFS , 1 : CAMON */
				core_voltage = <0>;		/* 0 : N , 1 : Y  */
				upgrade = <0>;			/* 0 : N , 1 : SYSFS , 2 : CAMON */
				companion = <0>;			/* 0 : N , 1 : Y  */
				ois = <0>;				/* 0 : N , 1 : Y  */
				valid = <1>;				/* 0 : INVALID, 1 : VALID */
				dual_open = <0>;			/* 0 : SINGLE_OPEN , 1 : DUAL_OPEN */
				position = <6>;			/* 0 : Rear, 1:Front, 2:Rear2, 5:Front2, 6:Rear3 */
			};

		};

		fimc_is_dvfs {
			/* TODO: DVFS level set */
			#define DVFS_INT_L0 533000
			#define DVFS_INT_L1 333000
			#define DVFS_INT_L2 267000
			#define DVFS_INT_L3 133000
			#define DVFS_INT_L4 107000

			#define DVFS_CAM_L0 690000
			#define DVFS_CAM_L1 680000
			#define DVFS_CAM_L2 670000
			#define DVFS_CAM_L3 660000
			#define DVFS_CAM_L4 650000

			#define DVFS_MIF_L0 2093000
			#define DVFS_MIF_L1 2002000
			#define DVFS_MIF_L2 1794000
			#define DVFS_MIF_L3 1539000
			#define DVFS_MIF_L4 1352000
			#define DVFS_MIF_L5 1014000
			#define DVFS_MIF_L6 845000
			#define DVFS_MIF_L7 676000
			#define DVFS_MIF_L8 546000
			#define DVFS_MIF_L9 420000

			table0 {
				desc = "default";

				default_int = <DVFS_INT_L0>;
				default_cam = <DVFS_CAM_L0>;
				default_mif = <DVFS_MIF_L0>;
				default_i2c = <0>;

				front_preview_int = <DVFS_INT_L4>;
				front_preview_cam = <DVFS_CAM_L0>;
				front_preview_mif = <DVFS_MIF_L4>;
				front_preview_i2c = <0>;

				front_capture_int = <DVFS_INT_L4>;
				front_capture_cam = <DVFS_CAM_L0>;
				front_capture_mif = <DVFS_MIF_L4>;
				front_capture_i2c = <0>;

				front_video_int = <DVFS_INT_L4>;
				front_video_cam = <DVFS_CAM_L0>;
				front_video_mif = <DVFS_MIF_L4>;
				front_video_i2c = <0>;

				front_vt1_int = <DVFS_INT_L4>;
				front_vt1_cam = <DVFS_CAM_L0>;
				front_vt1_mif = <DVFS_MIF_L7>;
				front_vt1_i2c = <0>;

				front_vt2_int = <DVFS_INT_L4>;
				front_vt2_cam = <DVFS_CAM_L0>;
				front_vt2_mif = <DVFS_MIF_L7>;
				front_vt2_i2c = <0>;

				front_vt4_int = <DVFS_INT_L4>;
				front_vt4_cam = <DVFS_CAM_L0>;
				front_vt4_mif = <DVFS_MIF_L7>;
				front_vt4_i2c = <0>;

				rear_preview_fhd_int = <DVFS_INT_L4>;
				rear_preview_fhd_cam = <DVFS_CAM_L0>;
				rear_preview_fhd_mif = <DVFS_MIF_L3>;
				rear_preview_fhd_i2c = <0>;

				rear_capture_int = <DVFS_INT_L4>;
				rear_capture_cam = <DVFS_CAM_L0>;
				rear_capture_mif = <DVFS_MIF_L3>;
				rear_capture_i2c = <0>;

				rear_video_fhd_int = <DVFS_INT_L4>;
				rear_video_fhd_cam = <DVFS_CAM_L0>;
				rear_video_fhd_mif = <DVFS_MIF_L3>;
				rear_video_fhd_i2c = <0>;

				rear_video_uhd_int = <DVFS_INT_L4>;
				rear_video_uhd_cam = <DVFS_CAM_L0>;
				rear_video_uhd_mif = <DVFS_MIF_L1>;
				rear_video_uhd_i2c = <0>;

				rear_video_fhd_capture_int = <DVFS_INT_L4>;
				rear_video_fhd_capture_cam = <DVFS_CAM_L0>;
				rear_video_fhd_capture_mif = <DVFS_MIF_L3>;
				rear_video_fhd_capture_i2c = <0>;

				rear_video_uhd_capture_int = <DVFS_INT_L4>;
				rear_video_uhd_capture_cam = <DVFS_CAM_L0>;
				rear_video_uhd_capture_mif = <DVFS_MIF_L0>;
				rear_video_uhd_capture_i2c = <0>;

				dual_preview_int = <DVFS_INT_L4>;
				dual_preview_cam = <DVFS_CAM_L0>;
				dual_preview_mif = <DVFS_MIF_L2>;
				dual_preview_i2c = <0>;

				dual_capture_int = <DVFS_INT_L4>;
				dual_capture_cam = <DVFS_CAM_L0>;
				dual_capture_mif = <DVFS_MIF_L2>;
				dual_capture_i2c = <0>;

				dual_video_int = <DVFS_INT_L4>;
				dual_video_cam = <DVFS_CAM_L0>;
				dual_video_mif = <DVFS_MIF_L2>;
				dual_video_i2c = <0>;

				preview_high_speed_fps_int = <DVFS_INT_L4>;
				preview_high_speed_fps_cam = <DVFS_CAM_L0>;
				preview_high_speed_fps_mif = <DVFS_MIF_L5>;
				preview_high_speed_fps_i2c = <0>;

				video_high_speed_60fps_int = <DVFS_INT_L4>;
				video_high_speed_60fps_cam = <DVFS_CAM_L0>;
				video_high_speed_60fps_mif = <DVFS_MIF_L5>;
				video_high_speed_60fps_i2c = <0>;

				video_high_speed_120fps_int = <DVFS_INT_L4>;
				video_high_speed_120fps_cam = <DVFS_CAM_L0>;
				video_high_speed_120fps_mif = <DVFS_MIF_L5>;
				video_high_speed_120fps_i2c = <0>;

				max_int = <DVFS_INT_L0>;
				max_cam = <DVFS_CAM_L0>;
				max_mif = <DVFS_MIF_L0>;
				max_i2c = <0>;
			};

			table1 {
				desc = "DVFS table for HAL3";

				default_int = <DVFS_INT_L0>;
				default_cam = <DVFS_CAM_L0>;
				default_mif = <DVFS_MIF_L0>;
				default_i2c = <0>;

				front_preview_int = <DVFS_INT_L4>;
				front_preview_cam = <DVFS_CAM_L0>;
				front_preview_mif = <DVFS_MIF_L4>;
				front_preview_i2c = <0>;

				front_capture_int = <DVFS_INT_L4>;
				front_capture_cam = <DVFS_CAM_L0>;
				front_capture_mif = <DVFS_MIF_L4>;
				front_capture_i2c = <0>;

				front_video_int = <DVFS_INT_L4>;
				front_video_cam = <DVFS_CAM_L0>;
				front_video_mif = <DVFS_MIF_L4>;
				front_video_i2c = <0>;

				front_vt1_int = <DVFS_INT_L4>;
				front_vt1_cam = <DVFS_CAM_L0>;
				front_vt1_mif = <DVFS_MIF_L5>;
				front_vt1_i2c = <0>;

				front_vt2_int = <DVFS_INT_L4>;
				front_vt2_cam = <DVFS_CAM_L0>;
				front_vt2_mif = <DVFS_MIF_L5>;
				front_vt2_i2c = <0>;

				front_vt4_int = <DVFS_INT_L4>;
				front_vt4_cam = <DVFS_CAM_L0>;
				front_vt4_mif = <DVFS_MIF_L5>;
				front_vt4_i2c = <0>;

				rear_preview_fhd_int = <DVFS_INT_L4>;
				rear_preview_fhd_cam = <DVFS_CAM_L0>;
				rear_preview_fhd_mif = <DVFS_MIF_L2>;
				rear_preview_fhd_i2c = <0>;

				rear_capture_int = <DVFS_INT_L4>;
				rear_capture_cam = <DVFS_CAM_L0>;
				rear_capture_mif = <DVFS_MIF_L2>;
				rear_capture_i2c = <0>;

				rear_video_fhd_int = <DVFS_INT_L4>;
				rear_video_fhd_cam = <DVFS_CAM_L0>;
				rear_video_fhd_mif = <DVFS_MIF_L2>;
				rear_video_fhd_i2c = <0>;

				rear_video_uhd_int = <DVFS_INT_L4>;
				rear_video_uhd_cam = <DVFS_CAM_L0>;
				rear_video_uhd_mif = <DVFS_MIF_L1>;
				rear_video_uhd_i2c = <0>;

				rear_video_fhd_capture_int = <DVFS_INT_L4>;
				rear_video_fhd_capture_cam = <DVFS_CAM_L0>;
				rear_video_fhd_capture_mif = <DVFS_MIF_L3>;
				rear_video_fhd_capture_i2c = <0>;

				rear_video_uhd_capture_int = <DVFS_INT_L4>;
				rear_video_uhd_capture_cam = <DVFS_CAM_L0>;
				rear_video_uhd_capture_mif = <DVFS_MIF_L0>;
				rear_video_uhd_capture_i2c = <0>;

				dual_preview_int = <DVFS_INT_L4>;
				dual_preview_cam = <DVFS_CAM_L0>;
				dual_preview_mif = <DVFS_MIF_L2>;
				dual_preview_i2c = <0>;

				dual_capture_int = <DVFS_INT_L4>;
				dual_capture_cam = <DVFS_CAM_L0>;
				dual_capture_mif = <DVFS_MIF_L2>;
				dual_capture_i2c = <0>;

				dual_video_int = <DVFS_INT_L4>;
				dual_video_cam = <DVFS_CAM_L0>;
				dual_video_mif = <DVFS_MIF_L2>;
				dual_video_i2c = <0>;

				preview_high_speed_fps_int = <DVFS_INT_L4>;
				preview_high_speed_fps_cam = <DVFS_CAM_L0>;
				preview_high_speed_fps_mif = <DVFS_MIF_L5>;
				preview_high_speed_fps_i2c = <0>;

				video_high_speed_60fps_int = <DVFS_INT_L4>;
				video_high_speed_60fps_cam = <DVFS_CAM_L0>;
				video_high_speed_60fps_mif = <DVFS_MIF_L5>;
				video_high_speed_60fps_i2c = <0>;

				video_high_speed_120fps_int = <DVFS_INT_L4>;
				video_high_speed_120fps_cam = <DVFS_CAM_L0>;
				video_high_speed_120fps_mif = <DVFS_MIF_L5>;
				video_high_speed_120fps_i2c = <0>;

				max_int = <DVFS_INT_L0>;
				max_cam = <DVFS_CAM_L0>;
				max_mif = <DVFS_MIF_L0>;
				max_i2c = <0>;
			};
		};
	};
	fimc_is_module_3l6: fimc-is_sensor_3l6@2D {
		compatible = "samsung,sensor-module-3l6";
		pinctrl-names = "pin0", "pin1", "pin2", "release";
		pinctrl-0 = <&fimc_is_mclk2_out>;
		pinctrl-1 = <&fimc_is_mclk2_out>;
		pinctrl-2 = <&fimc_is_mclk2_fn>;
		pinctrl-3 = <>;

		position = <0>;					/* Rear:0. Front:1 */
		id = <0>; 						/* bns_id */
		mclk_ch = <2>;					/* XCI0_MCLK */
		sensor_i2c_ch = <1>;				/* HSI2C1 */

		gpio_mclk = <&gpc0 2 0x1>;			/* RCAM1_RCAM2_MCLK - XCI0_MCLK */
		gpio_reset = <&gpg3 4 0x1>;			/* RCAM1_RST_N - XGPIO24 */
		gpio_camaf_2p8_en = <&gpg1 5 0x1>;	/* RCAM1_AFVDD_2P8_EN*/
		status = "okay";

		af {
			product_name = <19>;			/* ACTUATOR_NAME_DW9808 */
			i2c_addr = <0x18>;
			i2c_ch = <3>;
		};

		flash {
			product_name = <11>; /* FLASH_GPIO */
			flash_first_gpio = <2>;
			flash_second_gpio = <1>;
		};

	};

	leds_rt8547 {
		compatible = "rt8547";
		status = "okay";
		flash_control = <&gpg0 1 0x1>;
		flash_en = <&gpg2 7 0x1>;
		flash_current = <1500>; /* Max = 1600mA */
		movie_current = <200>; /* Max = 400mA */
		factory_current = <350>; /* Max = 400mA */
		pre_current = <275>; /* Max = 400mA */
	};


	fimc_is_module_4ha: fimc-is_sensor_4ha@6C {
		compatible = "samsung,sensor-module-4ha";

		pinctrl-names = "default", "pin1", "pin2", "release";
		pinctrl-0 = <&fimc_is_mclk1_out>;
		pinctrl-1 = <&fimc_is_mclk1_out>;
		pinctrl-2 = <&fimc_is_mclk1_fn>;
		pinctrl-3 = <>;

		position = <1>;				/* Rear:0. Front:1 .. Rear3:6*/
		id = <1>;					/* bns_id */
		mclk_ch = <1>;
		sensor_i2c_ch = <0>;
		num_of_lanes=<4>;			/*  LANES_1:1, LANES_2:2, LANES_3:3, LANES_4:4 */

		gpio_mclk = <&gpc0 1 0x1>;				/* FCAM_MCLK*/
		gpio_reset = <&gpg3 5 0x1>;				/* RCAM3_RST_N */
		status = "okay";
	};

	fimc_is_module_5e9: fimc-is_sensor_5e9@10 {
		compatible = "samsung,sensor-module-5e9";

		pinctrl-names = "pin0", "pin1", "pin2", "release";
		pinctrl-0 = <&fimc_is_mclk0_out>;
		pinctrl-1 = <&fimc_is_mclk0_in>;
		pinctrl-2 = <&fimc_is_mclk0_fn>;
		pinctrl-3 = <>;

		position = <6>;								/* Rear:0. Front:1 */
		id = <3>;									/* bns_id */
		mclk_ch = <0>;
		sensor_i2c_ch = <2>;						/* HSI2C3 */

		gpio_mclk = <&gpc0 0 0x1>;					/* RCAM1_RCAM2_MCLK - XCI0_MCLK */
		gpio_reset = <&gpg2 5 0x1>;					/* RCAM2_RST_N - XGPIO17 */
		status = "okay";
	};

	#define SENSOR_SCENARIO_NORMAL		0
	#define SENSOR_SCENARIO_VISION		1
	#define SENSOR_SCENARIO_EXTERNAL	2
	#define SENSOR_SCENARIO_OIS_FACTORY	3
	#define SENSOR_SCENARIO_VIRTUAL		9
	#define FLITE_ID_NOTHING 100

	/* fimc_is_sensor0 - XMIPI_CSI4LA */
	fimc_is_sensor0: fimc_is_sensor@14410000 {
		scenario = <SENSOR_SCENARIO_NORMAL>;	/* Normal, Vision, OIS etc */
		id = <0>;
		csi_ch = <1>;
		flite_ch = <FLITE_ID_NOTHING>;
		is_bns = <0>;
		is_flite = <0>;
		status = "okay";

		//use_ssvc1_internal; /* just use for pdaf sensor */
	};

	/* fimc_is_sensor1 - XMIPI_CSI4LB */
	fimc_is_sensor1: fimc_is_sensor@14400000 {
		scenario = <SENSOR_SCENARIO_NORMAL>;	/* Normal, Vision, OIS etc */
		id = <1>;
		csi_ch = <0>;
		flite_ch = <FLITE_ID_NOTHING>;
		is_bns = <0>;
		is_flite = <0>;
		status = "okay";
	};

	/* fimc_is_sensor3 - XMIPI_CSI2L */
	fimc_is_sensor3: fimc_is_sensor@14430000 {
		scenario = <SENSOR_SCENARIO_NORMAL>;	/* Normal, Vision, OIS etc */
		id = <3>;
		csi_ch = <3>;
		flite_ch = <FLITE_ID_NOTHING>;
		is_bns = <0>;
		is_flite = <0>;
		status = "okay";
	};

	fimc_is_flash_gpio: fimc-is-flash_gpio@0 {
		compatible = "samsung,sensor-flash-gpio";
		id = <0>; /* Rear  */
		status = "okay";

		flash-gpio = <&gpg2 7 0>;	/* CAM_FLASH_EN - XGPIO19 */
		torch-gpio = <&gpg2 7 0>;	/* CAM_TORCH_EN - XGPIO19 */
	};

	hsi2c_0: hsi2c@138A0000 {
		gpios = <&gpc1 0 0 &gpc1 1 0>;
		status = "okay";
		clock-frequency = <400000>;
		samsung,scl-extended-low-period;
		samsung,reset-before-trans;

		pinctrl-names = "on_i2c";
		pinctrl-0 = <&hs_i2c0_bus>;

		fimc-is-4ha@2D {
			compatible = "samsung,exynos5-fimc-is-cis-4ha";
			reg = <0x2D>;				/* 1 bit right shift : 7bit address */
			id = <1>;
			num_of_lanes=<4>;			/*  LANES_1:1, LANES_2:2, LANES_3:3, LANES_4:4 */
			sensor_f_number = <200>;		/* f number 2.0 */
			setfile = "setB";			/* MIPI CLK changed to 684.67 in J7Duo */
			use_initial_ae;				/* for initial AE */
		};
	};

	hsi2c_1: hsi2c@138B0000 {
		gpios = <&gpc1 2 0 &gpc1 3 0>;
		status = "okay";
		clock-frequency = <400000>;
		samsung,scl-extended-low-period;
		samsung,reset-before-trans;

		pinctrl-names = "on_i2c";
		pinctrl-0 = <&hs_i2c1_bus>;

		fimc-is-3l6@2D {
			compatible = "samsung,exynos5-fimc-is-cis-3l6";
			reg = <0x2D>;				/* 1 bit right shift */
			id = <0>;					/* matching sensor id */
			sensor_f_number = <190>;	/* f number 1.9 */
			setfile = "setB";
		};
	};

	hsi2c_2: hsi2c@138C0000 {
		gpios = <&gpc1 4 0 &gpc1 5 0>;
		status = "okay";
		clock-frequency = <400000>;
		samsung,scl-extended-low-period;
		samsung,reset-before-trans;

		pinctrl-names = "on_i2c";
		pinctrl-0 = <&hs_i2c2_bus>;

		fimc-is-5e9@10{
			compatible = "samsung,exynos5-fimc-is-cis-5e9";
			reg = <0x10>;				/* 1 bit right shift */
			id = <3>;					/* matching sensor id */
			sensor_f_number = <220>;	/* f number 2.2 */
			setfile = "setB";
		};


	};

	hsi2c_3: hsi2c@138D0000 {
		gpios = <&gpc1 6 0 &gpc1 7 0>;
		status = "okay";
		clock-frequency = <400000>;
		samsung,scl-extended-low-period;
		samsung,reset-before-trans;

		pinctrl-names = "on_i2c";
		pinctrl-0 = <&hs_i2c3_bus>;

		rear_eeprom@B0 {
			compatible = "samsung,rear-eeprom-i2c";
			reg = <0x58>;		/* 7bit-addr */
		};

		front_eeprom@A2 {
			compatible = "samsung,front-eeprom-i2c";
			reg = <0x51>;		/* 7bit-addr */
		};

		fimc-is-actuator@18 {
			compatible = "samsung,exynos5-fimc-is-actuator-dw9808";
			reg = <0x0C>;
			id = <0>;			/* matching sensor id */
			place = <0>;
		};
	};
	hsi2c_6: hsi2c@13940000 {
		gpios = <&gpc2 4 0 &gpc2 5 0>;
		status = "okay";
		clock-frequency = <400000>;
		samsung,scl-extended-low-period;
		samsung,reset-before-trans;

		pinctrl-names = "on_i2c";
		pinctrl-0 = <&hs_i2c6_bus>;

		rear3_eeprom@50 {
			compatible = "samsung,rear3-eeprom-i2c";
			reg = <0x50>;
		};
	};

	/* DISPAUD */
	pinctrl@148F0000 {
		aud_fm_bus: aud-fm-bus {
			samsung,pins = "gpb1-1", "gpb1-2", "gpb1-3";
			samsung,pin-function = <0>;
			samsung,pin-pud = <1>;
		};
	};

	abox_gic: abox_gic@0x14AF0000 {
		status = "okay";
	};

	i2c_3: i2c@13860000 {
		status = "okay";
		samsung,i2c-max-bus-freq = <400000>;
		tfa98xx: tfa98xx@34 {
			compatible = "nxp,tfa98xx";
			#sound-dai-cells = <1>;
			reg = <0x34>;
		};
	};

	abox: abox@0x14A50000 {
		status = "okay";

		/delete-property/ pinctrl-0;
		/delete-property/ pinctrl-1;

		pinctrl-0 = <&aud_codec_mclk &aud_codec_bus &aud_fm_bus &aud_spk_bus &aud_loopback_bus>;
		pinctrl-1 = <&aud_codec_mclk_idle &aud_codec_bus_idle &aud_fm_bus_idle &aud_spk_bus_idle &aud_loopback_bus_idle>;

		/*vss=1: vss enable, vss=0: vss disable*/
		samsung,abox-bootargs = "init=ab0x vss=1";
		samsung,abox-bootargs-offset = <0x22E00>;

		ext_bin_0: ext_bin@0 {
			status = "disabled";
		};
	};

	dummy_audio_codec: audio_codec_dummy {
		status = "okay";
		compatible = "snd-soc-dummy";
		#sound-dai-cells = <1>;
	};

	reserved-memory {
		/delete-node/ abox_rmem;
		abox_rmem: abox_rmem@0xE9400000 {
			status = "okay";
			compatible = "exynos,abox_rmem";
			reg = <0x0 0xE9400000 0x400000>;
		};
	};

	sound {
		status = "okay";
		compatible = "samsung,exynos7885-cod3035";
		mic-bias-mode = <1 1 2 0>;
		clock-names = "xclkout";
		samsung,codec = <&abox>;

		samsung,routing =  "VOUTPUT", "ABOX UAIF0 Playback",
				 "VOUTPUTCALL", "ABOX UAIF2 Playback",
				 "ABOX UAIF2 Capture", "VINPUTCALL",
				 "ABOX SPEEDY Capture", "VINPUTFM",
				 // "SPK", "ABOX UAIF3 Playback",
				 // "ABOX UAIF3 Capture", "VI";
				 "SPK", "AIF Playback-b-34",
				 "AIF Playback-b-34", "ABOX UAIF3 Playback",
				 "ABOX UAIF3 Capture", "AIF Capture-b-34";

		rdma@0 {
			cpu {
				sound-dai = <&abox 0>;
			};
			codec {
				sound-dai = <&dummy_audio_codec>;
			};
		};
		rdma@1 {
			cpu {
				sound-dai = <&abox 1>;
			};
			codec {
				sound-dai = <&dummy_audio_codec>;
			};
		};
		rdma@2 {
			cpu {
				sound-dai = <&abox 2>;
			};
			codec {
				sound-dai = <&dummy_audio_codec>;
			};
		};
		rdma@3 {
			cpu {
				sound-dai = <&abox 3>;
			};
			codec {
				sound-dai = <&dummy_audio_codec>;
			};
		};
		rdma@4 {
			cpu {
				sound-dai = <&abox 4>;
			};
			codec {
				sound-dai = <&dummy_audio_codec>;
			};
		};
		rdma@5 {
			cpu {
				sound-dai = <&abox 5>;
			};
			codec {
				sound-dai = <&dummy_audio_codec>;
			};
		};
		rdma@6 {
			cpu {
				sound-dai = <&abox 6>;
			};
			codec {
				sound-dai = <&dummy_audio_codec>;
			};
		};
		rdma@7 {
			cpu {
				sound-dai = <&abox 7>;
			};
			codec {
				sound-dai = <&dummy_audio_codec>;
			};
		};
		wdma@0 {
			cpu {
				sound-dai = <&abox 8>;
			};
			codec {
				sound-dai = <&dummy_audio_codec>;
			};
		};
		wdma@1 {
			cpu {
				sound-dai = <&abox 9>;
			};
			codec {
				sound-dai = <&dummy_audio_codec>;
			};
		};
		wdma@2 {
			cpu {
				sound-dai = <&abox 10>;
			};
			codec {
				sound-dai = <&dummy_audio_codec>;
			};
		};
		wdma@3 {
			cpu {
				sound-dai = <&abox 11>;
			};
			codec {
				sound-dai = <&dummy_audio_codec>;
			};
		};
		wdma@4 {
			cpu {
				sound-dai = <&abox 12>;
			};
			codec {
				sound-dai = <&dummy_audio_codec>;
			};
		};
		uaif@0 {
			cpu {
				sound-dai = <&abox 13>;
			};
			codec {
				sound-dai = <&audio_codec_cod3035x>;
			};
		};
		uaif@1 {
			cpu {
				sound-dai = <&abox 14>;
			};
			codec {
				sound-dai = <&dummy_audio_codec>;
			};
		};
		uaif@2 {
			cpu {
				sound-dai = <&abox 15>;
			};
			codec {
				sound-dai = <&dummy_audio_codec>;
			};
		};
		uaif@3 {
			cpu {
				sound-dai = <&abox 16>;
			};
			codec {
				sound-dai = <&tfa98xx 0>;
			};
		};
		internal@0 {
			cpu {
				sound-dai = <&abox 17>;
			};
			codec {
				sound-dai = <&dummy_audio_codec>;
			};
		};
		speedy@0 {
			cpu {
				sound-dai = <&abox 18>;
			};
			codec {
				sound-dai = <&dummy_audio_codec>;
			};
		};
	};

	fm@14840000 {
		num-trfon-freq = <16>;
		val-trfon-freq = <87500 87600 88300 88400 89000 89100 89800 89900
			90600 90700 91300 91400 92100 92200 92900 93000 93600 93700
			94400 94500 95200 95300 96700 96800 97500 97600 98300 98400 99000 99800 99900 99100
			100000 100600 100700 101300 101400 101500 101600 102100 102200 102900 103000 103600
			103700 104000 104400 104500 105200 105300 105900 106000 106700 106800 107500 107600 >;
		spur-trfon-freq = <1536>;
		num-volume-level = <16>;
		val-vol-level = <0 16 23 32 45 64 90 128 181 256 362 512 724 1024 1447 2047>;
	};

	pinctrl@11CB0000 {

		nfc_clk: nfc-clk {
			samsung,pins = "gpq0-0";
			samsung,pin-function = <2>;
			samsung,pin-pud = <0>;
		};

		nfc_int: nfc-int {
			samsung,pins = "gpa1-0";
			samsung,pin-function = <0>;
			samsung,pin-pud = <1>;
		};

	};

	pinctrl@139B0000 {
		nfc_pwr_en: nfc_pwr_en {
			samsung,pins = "gpp6-4";
			samsung,pin-function = <1>;
			samsung,pin-pud = <0>;
			samsung,pin-val = <0>;
			samsung,pin-con-pdn = <3>;
			samsung,pin-pud-pdn = <0>;
		};

		nfc_firm: nfc_firm {
			samsung,pins = "gpp3-2";
			samsung,pin-function = <1>;
			samsung,pin-pud = <0>;
			samsung,pin-val = <0>;
			samsung,pin-con-pdn = <3>;
			samsung,pin-pud-pdn = <0>;
		};

		nfc_pd: nfc_pd {
			samsung,pins = "gpp2-2";
			samsung,pin-function = <2>;
			samsung,pin-pud = <0>;
			samsung,pin-drv = <0>;
			samsung,pin-con-pdn = <3>;
			samsung,pin-pud-pdn = <0>;
		};

		nfc_clk_req: nfc_clk_req {
			samsung,pins = "gpp2-3";
			samsung,pin-function = <2>;
			samsung,pin-pud = <1>;
			samsung,pin-drv = <0>;
			samsung,pin-con-pdn = <3>;
			samsung,pin-pud-pdn = <0>;
		};

		nfc_det: nfc-det {
			samsung,pins = "gpg2-2";
			samsung,pin-function = <0>;
			samsung,pin-pud = <0>;
		};

		i2c2_bus: i2c2-bus {
			samsung,pins = "gpp2-1", "gpp2-0";
			samsung,pin-function = <2>;
			samsung,pin-pud = <0>;
			samsung,pin-drv = <0>;
		};
	};

	i2c_2: i2c@13850000 {
		status = "okay";
		samsung,i2c-max-bus-freq = <400000>;
		pinctrl-names = "default";
		pinctrl-0 = <&i2c2_bus>;
		sec-nfc@27 {
			compatible = "sec-nfc";
			reg = <0x27>;

			interrupt-parent = <&gpa1>;
			interrupts = <0 0 0>;

			sec-nfc,nfc_pd = <&gpp2 2 0x2>;
			sec-nfc,firm-gpio = <&gpp3 2 1>;
			sec-nfc,irq-gpio = <&gpa1 0 0>;
			sec-nfc,nfc_clkreq = <&gpp2 3 0x2>;
			sec-nfc,pvdd_en = <&gpp6 4 1>;
			sec-nfc,check_nfc =<&gpg2 2 0x0>;
			clkctrl-reg = <0x11C8600C>;

			pinctrl-names = "default";
			pinctrl-0 = <&nfc_pd &nfc_firm &nfc_int &nfc_clk &nfc_pwr_en &nfc_clk_req &nfc_det>;
		};
	};

	sec_abc {
		compatible = "samsung,sec_abc";
		status = "okay";

		gpu {
			gpu,label="GPU fault";
			gpu,threshold_count=<20>;
			gpu,threshold_time=<1200>;
		};
		aicl {
			aicl,label="battery aicl";
			aicl,threshold_count=<5>;
			aicl,threshold_time=<300>;
		};
	};

	abc_hub {
		compatible = "samsung,abc_hub";
		status = "okay";

		bootc {
			bootc,time_spec_user = <100000>; /* user binary user build */
			bootc,time_spec_eng = <100000>; /* user binary eng build */
			bootc,time_spec_fac = <100000>; /* factory binary */
		};
	};

	argos {
		compatible = "samsung,argos";
		#address-cells = <1>;
		/*  The device number should be assigned for each device, e.g. "boot_device@1" and "boot_device@2".
		 * Duplicated number is not allowed. Please refer the below example.
		 */

		/* Table Format should be
		 * <Throughput(Mbps) ARM_min ARM_max KFC_min KFC_max MIF INT Task IRQ HMP_boost>
		 * ARM_min : Big Core's minimum frequency lock. 0 means not set,
		 * ARM_max : Big Core's maximum frequency lock. 0 means not set,
		 * KFC_min : Little Core's minimum frequency lock. 0 means not set,
		 * KFC_max : Little Core's maximum frequency lock. 0 means not set,
		 * MIF : MIF frequency lock. 0 means not set,
		 * INT : INT frequency lock. 0 means not set,
		 * Task : 1 - Set task affinity lock.
		 *	0 - Not set or unlock,
		 *		Task affinity should be predefined driver's code.
		 * IRQ : 1 - Set irq affinity lock.
		 *       0 - Not set or unlock,
		 *		Task affinity should be predefined driver's code.
		 * HMP_boots : 1 - Increase hmp boosting count
		 *             0 - Decrease hmp boosting count
		 */

        boot_device@1 {
			net_boost,label="IPC";
			net_boost,node="rmnet0 rmnet1 rmnet2 rmnet3 rmnet4 rmnet5 rmnet6 rmnet7 umts_dm0";
			net_boost,table_size = <4>;
			net_boost,table= <
				1   0 0 0 0 0 0 0 1 0
				50  0 0 1170000 0 1144000 0 0 1 0
				100 0 0 1378000 0 1539000 0 0 1 0
				150 0 0 1586000 0 1794000 0 0 1 0
				>;
		};

		boot_device@2 {
			net_boost,label="CLAT";
			net_boost,node="clat clat4 v4-rmnet0 v4-rmnet1 v4-rmnet2 v4-rmnet3 v4-rmnet4 v4-rmnet5 v4-rmnet6 v4-rmnet7";
			net_boost,table_size = <3>;
			net_boost,table= <
				20  0 0 1170000 0 1539000 0 0 0 0
				50  0 0 1378000 0 1539000 0 0 0 0
				100 0 0 1586000 0 1794000 0 0 0 0
				>;
		};

		boot_device@3 {
		 net_boost,label="WIFI TX";
		 net_boost,node="wlan0";
		 net_boost,table_size = <2>;
		 net_boost,table= <
		 	60 1144000 0 676000 0 0 0 0 0 0
		 	120 1560000 0 1586000 0 0 267000 0 0 0
		 	>;
		 };

		 boot_device@4 {
		 net_boost,label="WIFI RX";
		 net_boost,node="wlan0";
		 net_boost,table_size = <1>;
		 net_boost,table= <
		 	250 1352000 0 1352000 0 0 0 0 0 0
		 	>;
		 };

		/*
		 * boot_device@9 {
		 *	net_boost,label="WIFI RX";
		 *	net_boost,node="wlan0";
		 *	net_boost,table_size = <4>;
		 *	net_boost,table= <
		 *		5  2002000 0 1690000 0 0 0 0 0 0
		 *		10 2002000 0 1690000 0 0 0 0 0 0
		 *		20 2002000 0 1690000 0 845000 400000 1 1 1
		 *		30 2002000 0 1690000 0 1352000 533000 1 1 1
		 *		>;
		 * };
		 */
	};

	muic {
		new_factory;
		dcd_timeout;
	};

	pinctrl@11CB0000 {
		pcb_det: pcb-det {
			samsung,pins = "gpa0-6";
			samsung,pin-function = <0>;
			samsung,pin-pud = <0>;
			samsung,pin-drv = <0>;
		};
	};

	fpcb_type {
		status = "enabled";
		compatible = "fpcb_type";
		pinctrl-names = "default";
		pinctrl-0 = <&pcb_det>;
		gpios = <&gpa0 6 0>;
	};

	cpufreq {
		domain@1 {
			max-freq = <1768000>;

					dm-constraints {
						mif-perf {
							table = < 1768000 1794000
								  1664000 1539000
								  1560000 1539000
								  1352000 1352000
								  1144000 1014000
								   936000  546000
								   728000  420000>;
				};
			};
		};
	};

	cpufreq-ufc {
		/* Ctrl Type */
		#define PM_QOS_MIN_LIMIT		0
		#define PM_QOS_MIN_WO_BOOST_LIMIT	1
		#define PM_QOS_MAX_LIMIT		2
		/* Execution Mode */
		#define AARCH64_MODE			0
		#define AARCH32_MODE			1

		domain@0 {
			device_type = "cpufreq-userctrl";
			shared-cpus = "0-5";

			user-default-qos = <839000>;
		};

		domain@1 {
			device_type = "cpufreq-userctrl";
			shared-cpus = "6-7";

			user-default-qos = <936000>;

			min-limit {
				ctrl-type = <PM_QOS_MIN_LIMIT>;
				execution-mode = <AARCH64_MODE>;
					/* big	    lit */
				table = < 1768000  1586000
					  1664000  839000
					  1560000  839000
					  1352000  839000
					  1144000  839000
					   936000  839000
					   728000  839000 >;
			};

			max-limit {
				ctrl-type = <PM_QOS_MAX_LIMIT>;
				execution-mode = <AARCH64_MODE>;
					/* big	    lit */
				table = < 1768000 1586000
					  1664000 1586000
					  1560000 1586000
					  1352000 1586000
					  1144000 1352000
					   936000 1248000
					   728000 1248000 >;
			};
		};
	};
};

